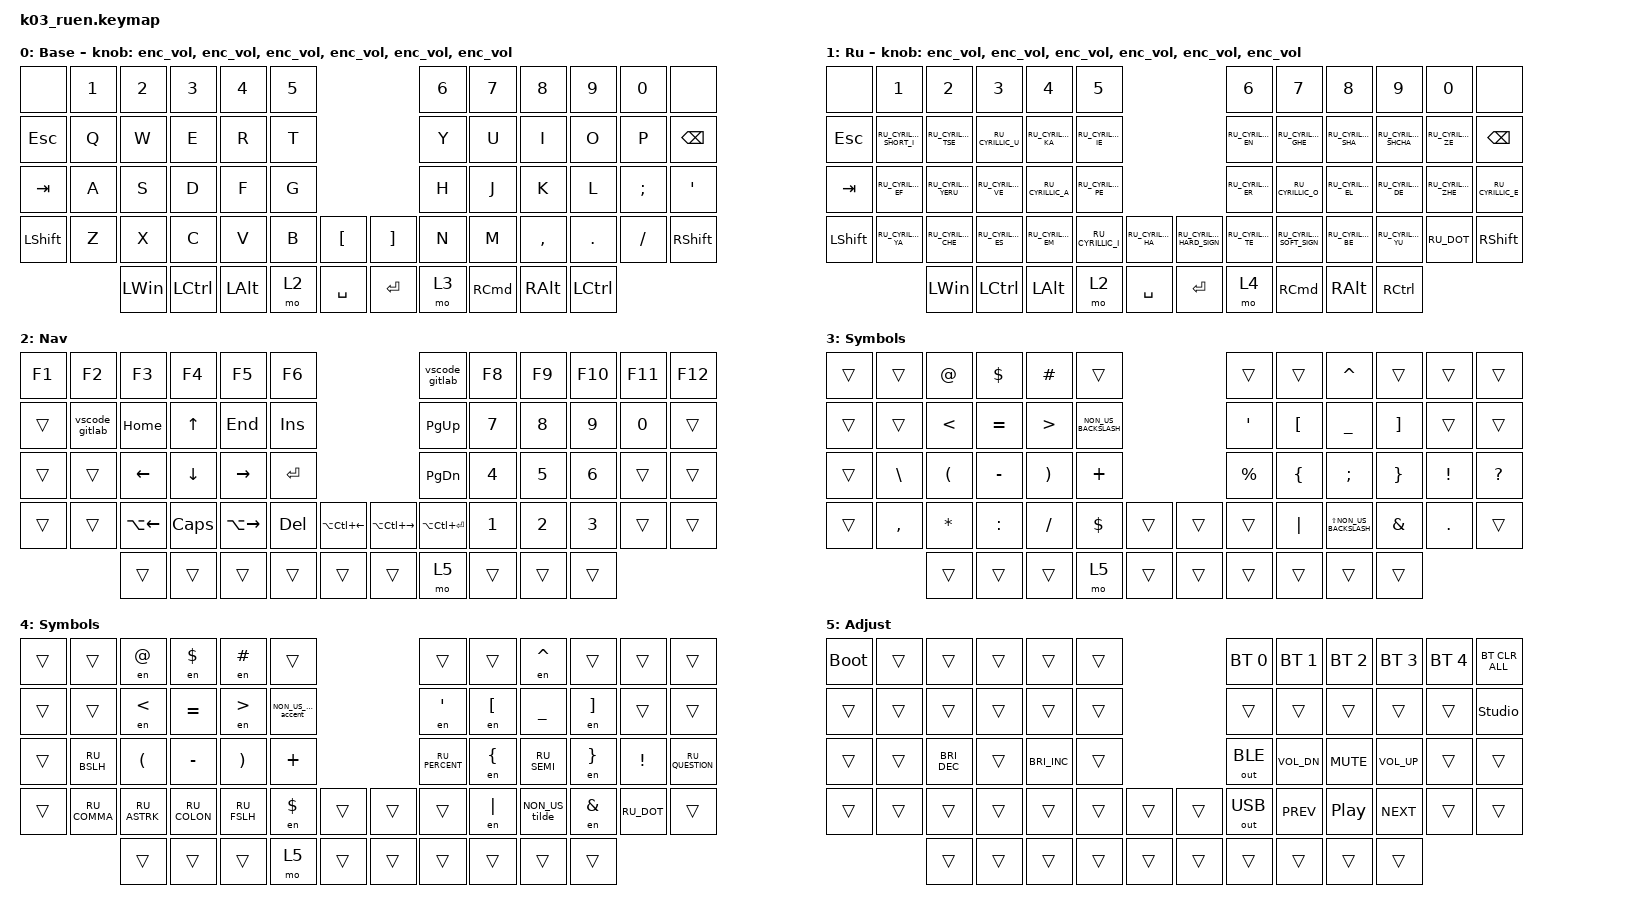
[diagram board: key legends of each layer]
#include "keys_ru.h"
#include <behaviors.dtsi>
#include <dt-bindings/zmk/bt.h>
#include <dt-bindings/zmk/keys.h>
#include <dt-bindings/zmk/outputs.h>

/ {
    behaviors {
        enc_vol: enc_vol {
            compatible = "zmk,behavior-sensor-rotate";
            label = "ENC_VOL";
            #sensor-binding-cells = <0>;
            bindings = <&kp C_VOL_UP>, <&kp C_VOL_DN>;
        };
    };

    combos {
        compatible = "zmk,combos";

        cmben {
            bindings = <&layer_en>;
            key-positions = <28 27>;
            layers = <1>;
        };

        cmbru {
            bindings = <&layer_ru>;
            key-positions = <28 27>;
            layers = <0>;
        };

        caps_word_combo {
            bindings = <&caps_word>;
            key-positions = <36 49>;
        };
    };

    macros {
        to_ru: to_ru {
            compatible = "zmk,behavior-macro";
            #binding-cells = <0>;
            bindings = <&kp LS(LG(N1))>;
            label = "TO_RU";
            wait-ms = <0>;
            tap-ms = <30>;
        };

        to_en: to_en {
            compatible = "zmk,behavior-macro";
            #binding-cells = <0>;
            bindings = <&kp LS(LG(NUMBER_2))>;
            label = "TO_EN";
            wait-ms = <0>;
            tap-ms = <30>;
        };

        layer_en: layer_en {
            compatible = "zmk,behavior-macro";
            #binding-cells = <0>;
            bindings = <&to 0 &to_en>;
            label = "LAYER_EN";
            wait-ms = <0>;
            tap-ms = <30>;
        };

        layer_ru: layer_ru {
            compatible = "zmk,behavior-macro";
            #binding-cells = <0>;
            bindings = <&to 1 &to_ru>;
            label = "LAYER_RU";
            tap-ms = <30>;
            wait-ms = <0>;
        };

        en: en {
            compatible = "zmk,behavior-macro-one-param";
            #binding-cells = <1>;
            bindings =
                <&to_en>,
                <&macro_press>,
                <&macro_param_1to1 &kp MACRO_PLACEHOLDER>,
                <&macro_pause_for_release>,
                <&macro_release>,
                <&macro_param_1to1 &kp MACRO_PLACEHOLDER>,
                <&macro_tap>,
                <&to_ru>;

            label = "EN";
            wait-ms = <0>;
            tap-ms = <30>;
        };

        vscode_git: vscode_git {
            compatible = "zmk,behavior-macro";
            #binding-cells = <0>;
            bindings = <&kp LS(LC(G))>;
            label = "VSCODE_GIT";
        };

        vscode_exp: vscode_exp {
            compatible = "zmk,behavior-macro";
            #binding-cells = <0>;
            bindings = <&kp LS(LG(E))>;
            label = "VSCODE_EXP";
        };

        vscode_search: vscode_search {
            compatible = "zmk,behavior-macro";
            #binding-cells = <0>;
            bindings = <&kp LS(LG(F))>;
            label = "VSCODE_SEARCH";
        };

        NON_US_grave_accent: NON_US_grave_accent {
            compatible = "zmk,behavior-macro";
            #binding-cells = <0>;
            bindings = <&en NON_US_BACKSLASH>;
            label = "NON_US_GRAVE_ACCENT";
        };

        NON_US_tilde: NON_US_tilde {
            compatible = "zmk,behavior-macro";
            #binding-cells = <0>;
            bindings = <&en LS(NON_US_BACKSLASH)>;
            label = "NON_US_TILDE";
        };

        vscode_gitlab: vscode_gitlab {
            compatible = "zmk,behavior-macro";
            #binding-cells = <0>;
            bindings = <&kp LS(LG(J))>;
            label = "VSCODE_GITLAB";
        };
    };

    keymap {
        compatible = "zmk,keymap";

        en {
            bindings = <
&none      &kp N1  &kp N2        &kp N3            &kp N4        &kp N5                          &kp N6  &kp N7             &kp N8     &kp N9            &kp N0    &none
&kp ESC    &kp Q   &kp W         &kp E             &kp R         &kp T                           &kp Y   &kp U              &kp I      &kp O             &kp P     &kp BACKSPACE
&kp TAB    &kp A   &kp S         &kp D             &kp F         &kp G                           &kp H   &kp J              &kp K      &kp L             &kp SEMI  &kp SQT
&kp LSHFT  &kp Z   &kp X         &kp C             &kp V         &kp B   &kp LBKT     &kp RBKT   &kp N   &kp M              &kp COMMA  &kp DOT           &kp FSLH  &kp RSHFT
                   &kp LEFT_WIN  &kp LEFT_CONTROL  &kp LEFT_ALT  &mo 2   &kp SPACE    &kp ENTER  &mo 3   &kp RIGHT_COMMAND  &kp RALT   &kp LEFT_CONTROL
            >;

            display-name = "Base";
            sensor-bindings =
                <&enc_vol>,
                <&enc_vol>,
                <&enc_vol>,
                <&enc_vol>,
                <&enc_vol>,
                <&enc_vol>;
        };

        ru {
            display-name = "Ru";
            bindings = <
&none      &kp N1                   &kp N2                &kp N3              &kp N4              &kp N5                                                               &kp N6              &kp N7                     &kp N8               &kp N9                 &kp N0               &none
&kp ESC    &kp RU_CYRILLIC_SHORT_I  &kp RU_CYRILLIC_TSE   &kp RU_CYRILLIC_U   &kp RU_CYRILLIC_KA  &kp RU_CYRILLIC_IE                                                   &kp RU_CYRILLIC_EN  &kp RU_CYRILLIC_GHE        &kp RU_CYRILLIC_SHA  &kp RU_CYRILLIC_SHCHA  &kp RU_CYRILLIC_ZE   &kp BACKSPACE
&kp TAB    &kp RU_CYRILLIC_EF       &kp RU_CYRILLIC_YERU  &kp RU_CYRILLIC_VE  &kp RU_CYRILLIC_A   &kp RU_CYRILLIC_PE                                                   &kp RU_CYRILLIC_ER  &kp RU_CYRILLIC_O          &kp RU_CYRILLIC_EL   &kp RU_CYRILLIC_DE     &kp RU_CYRILLIC_ZHE  &kp RU_CYRILLIC_E
&kp LSHFT  &kp RU_CYRILLIC_YA       &kp RU_CYRILLIC_CHE   &kp RU_CYRILLIC_ES  &kp RU_CYRILLIC_EM  &kp RU_CYRILLIC_I   &kp RU_CYRILLIC_HA    &kp RU_CYRILLIC_HARD_SIGN  &kp RU_CYRILLIC_TE  &kp RU_CYRILLIC_SOFT_SIGN  &kp RU_CYRILLIC_BE   &kp RU_CYRILLIC_YU     &kp RU_DOT           &kp RSHFT
                                    &kp LEFT_WIN          &kp LEFT_CONTROL    &kp LEFT_ALT        &mo 2               &kp SPACE             &kp ENTER                  &mo 4               &kp RIGHT_COMMAND          &kp RALT             &kp RIGHT_CONTROL
            >;

            sensor-bindings =
                <&enc_vol>,
                <&enc_vol>,
                <&enc_vol>,
                <&enc_vol>,
                <&enc_vol>,
                <&enc_vol>;
        };

        nav {
            bindings = <
&kp F1  &kp F2          &kp F3        &kp F4    &kp F5         &kp F6                                                      &vscode_gitlab     &kp F8  &kp F9  &kp F10  &kp F11       &kp F12
&trans  &vscode_gitlab  &kp HOME      &kp UP    &kp END        &kp INS                                                     &kp PG_UP          &kp N7  &kp N8  &kp N9   &kp NUMBER_0  &trans
&trans  &trans          &kp LEFT      &kp DOWN  &kp RIGHT      &kp RET                                                     &kp PG_DN          &kp N4  &kp N5  &kp N6   &trans        &trans
&trans  &trans          &kp LA(LEFT)  &kp CAPS  &kp LA(RIGHT)  &kp DEL  &kp LA(LC(LEFT_ARROW))    &kp LA(LC(RIGHT_ARROW))  &kp LA(LC(ENTER))  &kp N1  &kp N2  &kp N3   &trans        &trans
                        &trans        &trans    &trans         &trans   &trans                    &trans                   &mo 5              &trans  &trans  &trans
            >;

            display-name = "Nav";
        };

        sym_en {
            bindings = <
&trans  &trans     &kp AT    &kp DLLR   &kp HASH  &trans                                  &trans     &trans    &kp CARET                 &trans    &trans    &trans
&trans  &trans     &kp LT    &kp EQUAL  &kp GT    &kp NON_US_BACKSLASH                    &kp APOS   &kp LBKT  &kp UNDER                 &kp RBKT  &trans    &trans
&trans  &kp BSLH   &kp LPAR  &kp MINUS  &kp RPAR  &kp PLUS                                &kp PRCNT  &kp LBRC  &kp SEMI                  &kp RBRC  &kp EXCL  &kp QUESTION
&trans  &kp COMMA  &kp STAR  &kp COLON  &kp FSLH  &kp DOLLAR            &trans    &trans  &trans     &kp PIPE  &kp LS(NON_US_BACKSLASH)  &kp AMPS  &kp DOT   &trans
                   &trans    &trans     &trans    &mo 5                 &trans    &trans  &trans     &trans    &trans                    &trans
            >;

            display-name = "Symbols";
        };

        sym_ru {
            display-name = "Symbols";
            bindings = <
&trans  &trans        &en AT        &en DLLR      &en HASH     &trans                                  &trans          &trans    &en CARET      &trans    &trans      &trans
&trans  &trans        &en LT        &kp EQUAL     &en GT       &NON_US_grave_accent                    &en APOS        &en LBKT  &kp UNDER      &en RBKT  &trans      &trans
&trans  &kp RU_BSLH   &kp LPAR      &kp MINUS     &kp RPAR     &kp PLUS                                &kp RU_PERCENT  &en LBRC  &kp RU_SEMI    &en RBRC  &kp EXCL    &kp RU_QUESTION
&trans  &kp RU_COMMA  &kp RU_ASTRK  &kp RU_COLON  &kp RU_FSLH  &en DOLLAR            &trans    &trans  &trans          &en PIPE  &NON_US_tilde  &en AMPS  &kp RU_DOT  &trans
                      &trans        &trans        &trans       &mo 5                 &trans    &trans  &trans          &trans    &trans         &trans
            >;
        };

        adj {
            bindings = <
&bootloader  &trans  &trans                &trans  &trans                &trans                    &bt BT_SEL 0  &bt BT_SEL 1  &bt BT_SEL 2      &bt BT_SEL 3  &bt BT_SEL 4  &bt BT_CLR_ALL
&trans       &trans  &trans                &trans  &trans                &trans                    &trans        &trans        &trans            &trans        &trans        &studio_unlock
&trans       &trans  &kp C_BRIGHTNESS_DEC  &trans  &kp C_BRIGHTNESS_INC  &trans                    &out OUT_BLE  &kp C_VOL_DN  &kp C_MUTE        &kp C_VOL_UP  &trans        &trans
&trans       &trans  &trans                &trans  &trans                &trans  &trans    &trans  &out OUT_USB  &kp C_PREV    &kp C_PLAY_PAUSE  &kp C_NEXT    &trans        &trans
                     &trans                &trans  &trans                &trans  &trans    &trans  &trans        &trans        &trans            &trans
            >;

            display-name = "Adjust";
        };
    };
};
